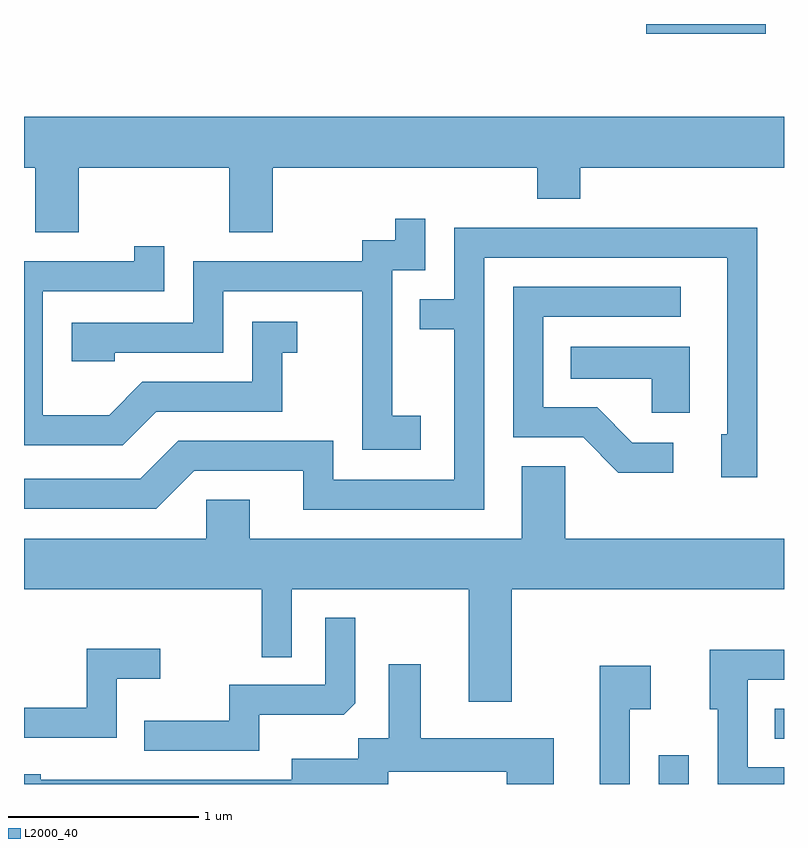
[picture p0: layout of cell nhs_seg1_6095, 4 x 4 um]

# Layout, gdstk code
import gdstk
lib = gdstk.Library(unit=1e-6, precision=1e-09)
def R(c, l, rs):  # rectangles x0, y0, x1, y1
    for r in rs: c.add(gdstk.rectangle(r[:2], r[2:], *l))
def P(c, l, *ps):  # polygons
    for p in ps: c.add(gdstk.Polygon(p, *l))
L2000_40 = (2000, 40)

nhs_seg1_6095 = lib.new_cell('nhs_seg1_6095')
R(nhs_seg1_6095, L2000_40, [(372.951,849.712,373.109,849.863), (373.563,849.951,373.611,850.109), (372.886,853.661,373.514,853.712)])
P(nhs_seg1_6095, L2000_40, [(369.899,852.956),(370.691,852.956),(370.691,852.616),(370.919,852.616),(370.919,852.956),(372.311,852.956),(372.311,852.791),(372.539,852.791),(372.539,852.956),(373.611,852.956),(373.611,853.224),(369.611,853.224),(369.611,852.956),(369.671,852.956),(369.671,852.616),(369.899,852.616)],
  [(371.699,851.649),(371.549,851.649),(371.549,852.416),(371.724,852.416),(371.724,852.688),(371.566,852.688),(371.566,852.574),(371.391,852.574),(371.391,852.464),(370.501,852.464),(370.501,852.139),(369.861,852.139),(369.861,851.936),(370.089,851.936),(370.089,851.981),(370.659,851.981),(370.659,852.306),(371.391,852.306),(371.391,851.471),(371.699,851.471)],
  [(372.034,852.481),(373.311,852.481),(373.311,851.554),(373.281,851.554),(373.281,851.326),(373.469,851.326),(373.469,852.639),(371.876,852.639),(371.876,852.264),(371.693,852.264),(371.693,852.106),(371.876,852.106),(371.876,851.314),(371.239,851.314),(371.239,851.519),(370.424,851.519),(370.224,851.319),(369.611,851.319),(369.611,851.161),(370.307,851.161),(370.507,851.361),(371.081,851.361),(371.081,851.156),(372.034,851.156)],
  [(370.307,851.671),(370.969,851.671),(370.969,851.981),(371.048,851.981),(371.048,852.144),(370.811,852.144),(370.811,851.829),(370.234,851.829),(370.059,851.654),(369.709,851.654),(369.709,852.306),(370.349,852.306),(370.349,852.543),(370.191,852.543),(370.191,852.464),(369.611,852.464),(369.611,851.496),(370.132,851.496)],
  [(373.028,851.509),(372.812,851.509),(372.627,851.694),(372.344,851.694),(372.344,852.171),(373.068,852.171),(373.068,852.329),(372.186,852.329),(372.186,851.536),(372.554,851.536),(372.739,851.351),(373.028,851.351)],
  [(373.114,852.014),(372.488,852.014),(372.488,851.846),(372.916,851.846),(372.916,851.666),(373.114,851.666)],
  [(372.179,850.736),(373.611,850.736),(373.611,851.004),(372.459,851.004),(372.459,851.384),(372.231,851.384),(372.231,851.004),(370.799,851.004),(370.799,851.209),(370.571,851.209),(370.571,851.004),(369.611,851.004),(369.611,850.736),(370.861,850.736),(370.861,850.378),(371.019,850.378),(371.019,850.736),(371.951,850.736),(371.951,850.146),(372.179,850.146)],
  [(370.849,850.076),(371.294,850.076),(371.354,850.137),(371.354,850.588),(371.196,850.588),(371.196,850.234),(370.691,850.234),(370.691,850.044),(370.243,850.044),(370.243,849.886),(370.849,849.886)],
  [(370.099,850.266),(370.328,850.266),(370.328,850.424),(369.941,850.424),(369.941,850.114),(369.611,850.114),(369.611,849.956),(370.099,849.956)],
  [(373.611,849.799),(373.419,849.799),(373.419,850.261),(373.611,850.261),(373.611,850.419),(373.221,850.419),(373.221,850.106),(373.261,850.106),(373.261,849.712),(373.611,849.712)],
  [(371.529,849.776),(372.151,849.776),(372.151,849.712),(372.399,849.712),(372.399,849.954),(371.699,849.954),(371.699,850.343),(371.531,850.343),(371.531,849.954),(371.371,849.954),(371.371,849.844),(371.021,849.844),(371.021,849.734),(369.699,849.734),(369.699,849.764),(369.611,849.764),(369.611,849.712),(371.529,849.712)],
  [(372.799,850.106),(372.909,850.106),(372.909,850.334),(372.641,850.334),(372.641,849.712),(372.799,849.712)])

lib.write_gds('nhs_seg1_6095.gds')
